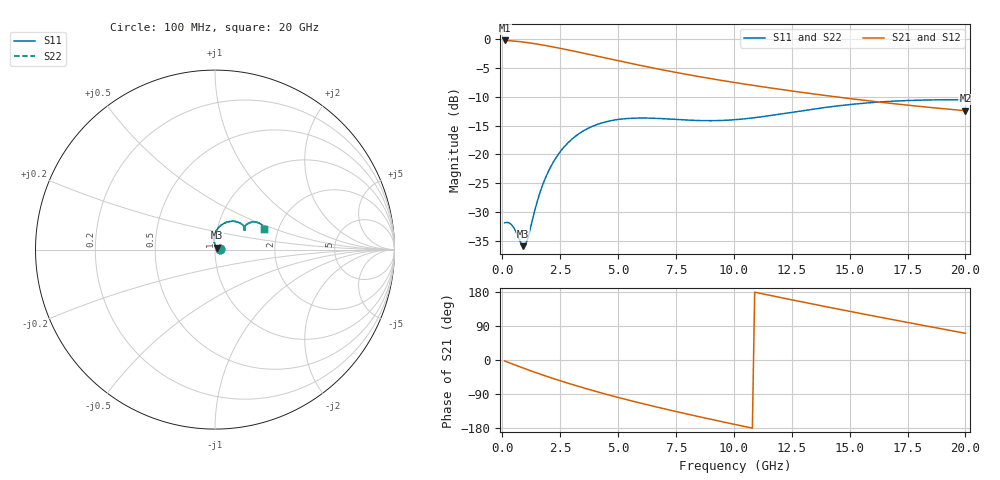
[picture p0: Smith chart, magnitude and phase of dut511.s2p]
! Touchstone file exported from HFSS 2024.1.0
!  File:  C:/UserFiles/LocalFiles/RDL_TSV_Batchsim/temp_RDL_TSV_511_1779739748.aedt
!  Generated:  04:25:36 AM May 26, 2026
!  Design:  RDL_TSV
!  Project:  temp_RDL_TSV_511_1779739748
!  Setup:  Setup1
!  Solution:  Sweep
! Variables:
!  dtsv = 12.98um
!  hbump = 3um
!  htsv = 82.63um
!  ldown = 617.01um
!  lrdl = 577.72um
!  p = 40
!  p1 = 41.63um
!  rhole = 10um
!  subl = 4161.91um
!  t = 450um
!  tdown = 3.56um
!  trdl = 3.19um
!  viad = 10um
!  wdown = 12.91um
!  wrdl = 22.52um
!  xbump = 18um
# GHz S MA R 50.000000
! Terminal data exported
! Port[1] = TM1_1_T1
! Port[2] = TM1_4_T1
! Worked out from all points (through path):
!   200 points, 100 MHz to 20 GHz, reference 50 ohm
!   highest |S21| = -0.23 dB at 100 MHz (marker M1); lowest = -12.4 dB at 20 GHz (marker M2)
!   group delay of S21, straight-line fit = 38.3 ps
!   lowest |S11| = -35.9 dB at 900 MHz (marker M3), VSWR 1.03, Z = 51.2 + j1.07 ohm
!   |S11| at or under -10 dB: start of sweep to end of sweep
!   |S22| runs from -35.9 to -10.5 dB; largest |S21 - S12| = 6.6e-15
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0.1  0.02546 2.9  0.974 -2.5  0.974 -2.5  0.02546 2.9
! Gamma 0 0 0 0
! Port Impedance 50 0 50 0
0.4  0.02452 7.1  0.9661 -9.7  0.9661 -9.7  0.02452 7.1
0.9  0.01595 40.9  0.944 -21.2  0.944 -21.2  0.01595 40.9
1  0.01635 56.8  0.9384 -23.5  0.9384 -23.5  0.01635 56.8
1.1  0.0185 71.2  0.9326 -25.7  0.9326 -25.7  0.0185 71.3
1.4  0.03241 93.0  0.9134 -32.3  0.9134 -32.3  0.03242 93.0
1.6  0.04475 96.2  0.8995 -36.5  0.8995 -36.5  0.04476 96.2
1.8  0.05806 95.9  0.8851 -40.7  0.8851 -40.7  0.05808 95.9
2.1  0.07857 92.6  0.8628 -46.9  0.8628 -46.9  0.07861 92.6
2.7  0.1177 82.7  0.8169 -58.6  0.8169 -58.6  0.1178 82.7
3.5  0.1597 69.2  0.756 -73.4  0.756 -73.4  0.1599 69.2
4.2  0.1846 58.7  0.7047 -85.6  0.7047 -85.6  0.1849 58.8
5.1  0.2019 48.0  0.6438 -100.4  0.6438 -100.4  0.2022 48.0
5.9  0.2065 40.9  0.5952 -112.7  0.5952 -112.7  0.207 40.9
6.8  0.2046 35.8  0.547 -126.0  0.547 -126.0  0.2052 35.8
8.4  0.1968 33.2  0.4765 -148.3  0.4765 -148.3  0.1975 33.1
10.1  0.2002 36.0  0.4181 -170.8  0.4181 -170.8  0.2008 35.8
11.8  0.2205 38.4  0.3714 167.5  0.3714 167.5  0.2208 38.1
13.4  0.2465 37.8  0.3352 147.7  0.3352 147.7  0.2465 37.5
15  0.2704 34.8  0.3049 128.4  0.3049 128.4  0.2701 34.5
16.7  0.288 30.6  0.2781 108.4  0.2781 108.4  0.2876 30.4
20  0.2973 23.1  0.2392 70.5  0.2392 70.5  0.2967 22.9
